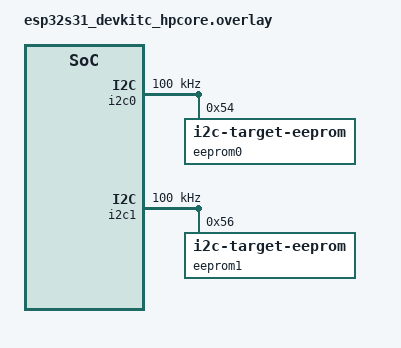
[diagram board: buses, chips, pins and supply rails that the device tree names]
/*
 * Copyright (c) 2026 Espressif Systems (Shanghai) Co., Ltd.
 *
 * SPDX-License-Identifier: Apache-2.0
 */

&pinctrl {
	i2c1_default: i2c1_default {
		group1 {
			pinmux = <I2C1_SDA_GPIO2>,
				 <I2C1_SCL_GPIO3>;
			bias-pull-up;
			drive-open-drain;
			output-high;
		};
	};
};

&i2c0 {
	status = "okay";
	clock-frequency = <I2C_BITRATE_STANDARD>;

	eeprom0: eeprom@54 {
		compatible = "zephyr,i2c-target-eeprom";
		reg = <0x54>;
		size = <256>;
	};
};

&i2c1 {
	status = "okay";
	clock-frequency = <I2C_BITRATE_STANDARD>;
	pinctrl-0 = <&i2c1_default>;
	pinctrl-names = "default";

	eeprom1: eeprom@56 {
		compatible = "zephyr,i2c-target-eeprom";
		reg = <0x56>;
		size = <256>;
	};
};
